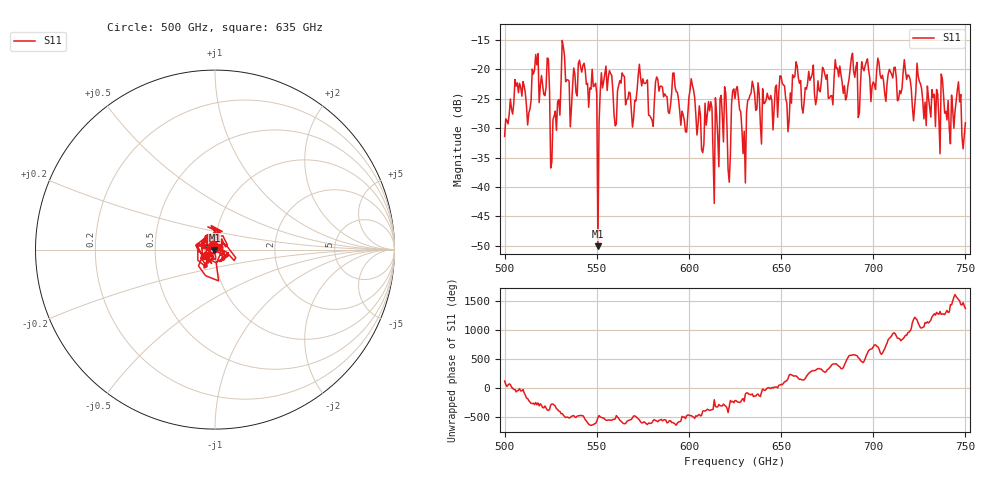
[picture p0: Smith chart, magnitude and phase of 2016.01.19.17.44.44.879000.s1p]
!Created with skrf (http://scikit-rf.org).
# GHz S RI R 50.0
!freq ReS11 ImS11
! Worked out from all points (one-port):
!   401 points, 500 GHz to 750 GHz, reference 50 ohm
!   lowest |S11| = -50.0 dB at 550.6 GHz (marker M1), VSWR 1.01, Z = 49.7 - j0.133 ohm
!   |S11| at or under -10 dB: start of sweep to end of sweep
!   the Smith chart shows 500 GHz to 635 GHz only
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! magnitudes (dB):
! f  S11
! 500 GHz  -31.4
! 506.9 GHz  -22.3
! 513.1 GHz  -27.4
! 516.9 GHz  -17.5
! 523.1 GHz  -18.1
! 526.2 GHz  -28.5
! 531.2 GHz  -15.1
! 548.8 GHz  -22.8
! 550.6 GHz  -50.0
! 553.8 GHz  -22.1
! 562.5 GHz  -22.0
! 570 GHz  -28.3
! 576.2 GHz  -22.4
! 579.4 GHz  -28.2
! 583.1 GHz  -21.7
! 593.8 GHz  -23.9
! 615 GHz  -27.7
! 618.8 GHz  -32.3
! 621.9 GHz  -39.2
! 625 GHz  -25.0
! 630 GHz  -30.5
! 633.8 GHz  -24.0
! 656.2 GHz  -21.0
! 687.5 GHz  -19.9
! 718.8 GHz  -21.0
! 740.6 GHz  -25.3
! 746.2 GHz  -22.1
! 750 GHz  -29.1
